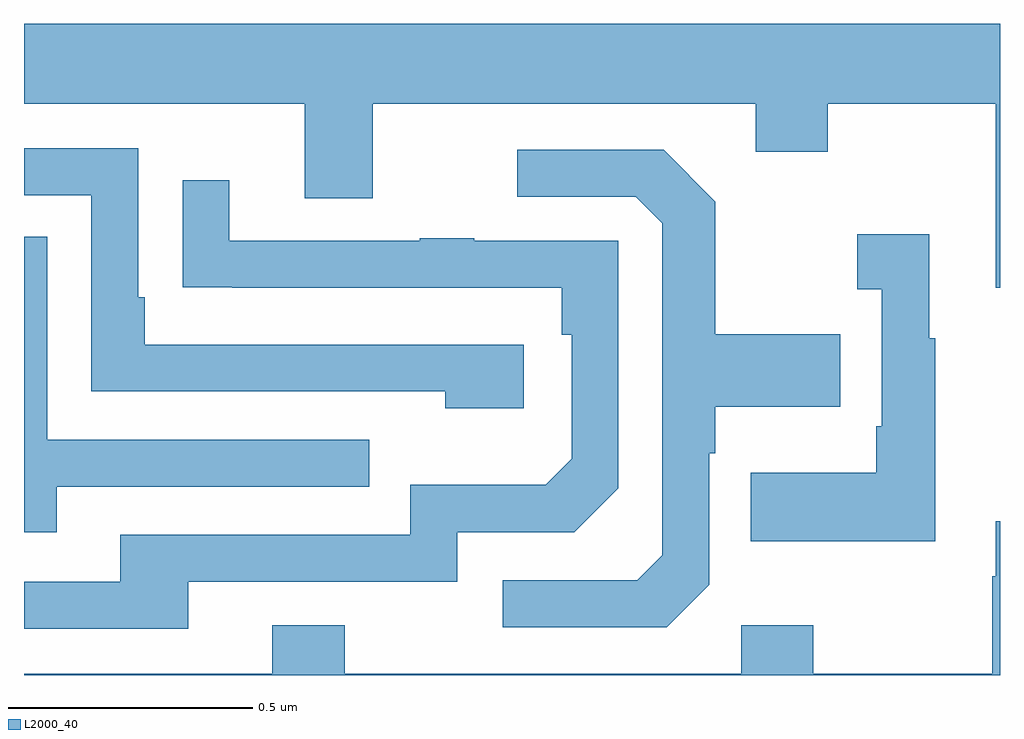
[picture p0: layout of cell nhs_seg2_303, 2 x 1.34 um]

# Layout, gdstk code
import gdstk
lib = gdstk.Library(unit=1e-6, precision=1e-09)
def P(c, l, *ps):  # polygons
    for p in ps: c.add(gdstk.Polygon(p, *l))
L2000_40 = (2000, 40)

nhs_seg2_303 = lib.new_cell('nhs_seg2_303')
P(nhs_seg2_303, L2000_40, [(116,645.136),(114,645.136),(114,644.972),(114.575,644.972),(114.575,644.778),(114.715,644.778),(114.715,644.972),(115.499,644.972),(115.499,644.873),(115.647,644.873),(115.647,644.972),(115.991,644.972),(115.991,644.595),(116,644.595)],
  [(115.024,644.478),(114.247,644.478),(114.247,644.575),(114.234,644.575),(114.234,644.88),(114,644.88),(114,644.784),(114.138,644.784),(114.138,644.382),(114.863,644.382),(114.863,644.348),(115.024,644.348)],
  [(115.404,643.986),(115.404,644.255),(115.417,644.255),(115.417,644.351),(115.673,644.351),(115.673,644.499),(115.417,644.499),(115.417,644.771),(115.311,644.877),(115.011,644.877),(115.011,644.781),(115.254,644.781),(115.308,644.727),(115.308,644.046),(115.257,643.995),(114.981,643.995),(114.981,643.899),(115.317,643.899)],
  [(114.337,643.992),(114.888,643.992),(114.888,644.094),(115.128,644.094),(115.218,644.184),(115.218,644.691),(114.923,644.691),(114.923,644.696),(114.811,644.696),(114.811,644.691),(114.421,644.691),(114.421,644.815),(114.325,644.815),(114.325,644.596),(114.427,644.596),(114.427,644.595),(115.102,644.595),(115.102,644.498),(115.122,644.498),(115.122,644.244),(115.069,644.191),(114.792,644.191),(114.792,644.088),(114.197,644.088),(114.197,643.992),(114,643.992),(114,643.896),(114.337,643.896)],
  [(115.867,644.491),(115.855,644.491),(115.855,644.704),(115.707,644.704),(115.707,644.591),(115.758,644.591),(115.758,644.311),(115.746,644.311),(115.746,644.215),(115.489,644.215),(115.489,644.075),(115.867,644.075)],
  [(114.067,644.187),(114.707,644.187),(114.707,644.283),(114.048,644.283),(114.048,644.699),(114,644.699),(114,644.093),(114.067,644.093)],
  [(116,644.116),(115.991,644.116),(115.991,644.003),(115.984,644.003),(115.984,643.804),(115.617,643.804),(115.617,643.903),(115.47,643.903),(115.47,643.804),(114.657,643.804),(114.657,643.903),(114.509,643.903),(114.509,643.804),(114,643.804),(114,643.8),(116,643.8)])

lib.write_gds('nhs_seg2_303.gds')
